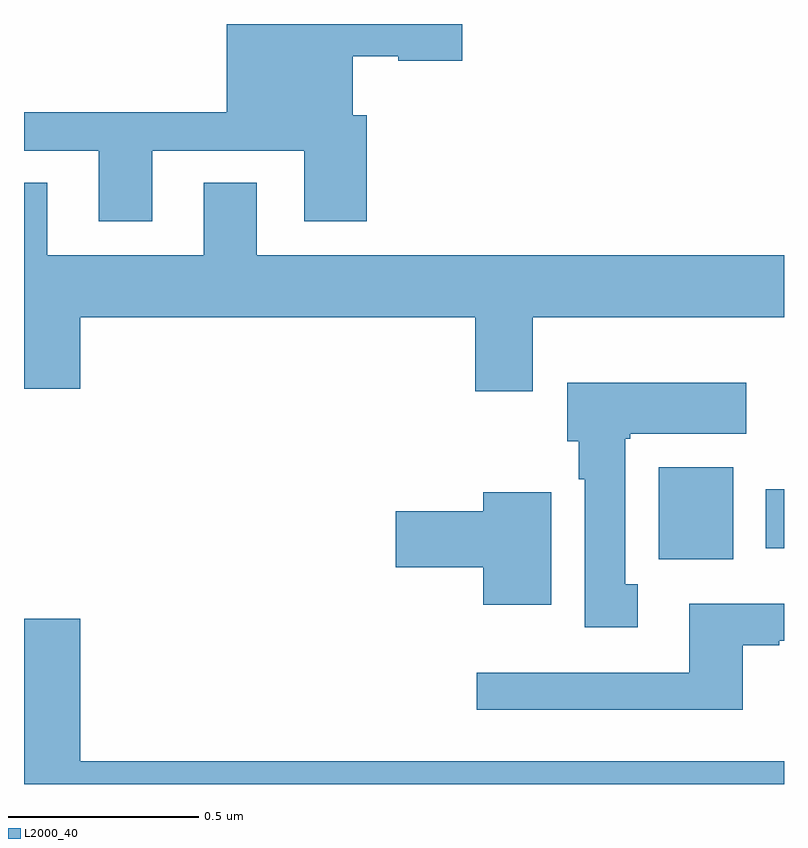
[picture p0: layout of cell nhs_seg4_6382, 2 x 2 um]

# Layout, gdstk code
import gdstk
lib = gdstk.Library(unit=1e-6, precision=1e-09)
def R(c, l, rs):  # rectangles x0, y0, x1, y1
    for r in rs: c.add(gdstk.rectangle(r[:2], r[2:], *l))
def P(c, l, *ps):  # polygons
    for p in ps: c.add(gdstk.Polygon(p, *l))
L2000_40 = (2000, 40)

nhs_seg4_6382 = lib.new_cell('nhs_seg4_6382')
R(nhs_seg4_6382, L2000_40, [(190.67,821.492,190.867,821.734), (190.952,821.52,191,821.676)])
P(nhs_seg4_6382, L2000_40, [(189.337,822.567),(189.737,822.567),(189.737,822.381),(189.902,822.381),(189.902,822.66),(189.865,822.66),(189.865,822.815),(189.985,822.815),(189.985,822.803),(190.153,822.803),(190.153,822.9),(189.533,822.9),(189.533,822.668),(189,822.668),(189,822.567),(189.197,822.567),(189.197,822.381),(189.337,822.381)],
  [(190.339,822.128),(191,822.128),(191,822.292),(189.613,822.292),(189.613,822.482),(189.473,822.482),(189.473,822.292),(189.061,822.292),(189.061,822.482),(189,822.482),(189,821.94),(189.148,821.94),(189.148,822.128),(190.187,822.128),(190.187,821.934),(190.339,821.934)],
  [(190.615,821.426),(190.582,821.426),(190.582,821.809),(190.596,821.809),(190.596,821.822),(190.9,821.822),(190.9,821.956),(190.43,821.956),(190.43,821.802),(190.46,821.802),(190.46,821.702),(190.475,821.702),(190.475,821.313),(190.615,821.313)],
  [(190.387,821.668),(190.208,821.668),(190.208,821.618),(189.978,821.618),(189.978,821.471),(190.208,821.471),(190.208,821.372),(190.387,821.372)],
  [(190.891,821.265),(190.987,821.265),(190.987,821.277),(191,821.277),(191,821.374),(190.751,821.374),(190.751,821.193),(190.191,821.193),(190.191,821.096),(190.891,821.096)],
  [(191,820.96),(189.148,820.96),(189.148,821.335),(189,821.335),(189,820.9),(191,820.9)])

lib.write_gds('nhs_seg4_6382.gds')
